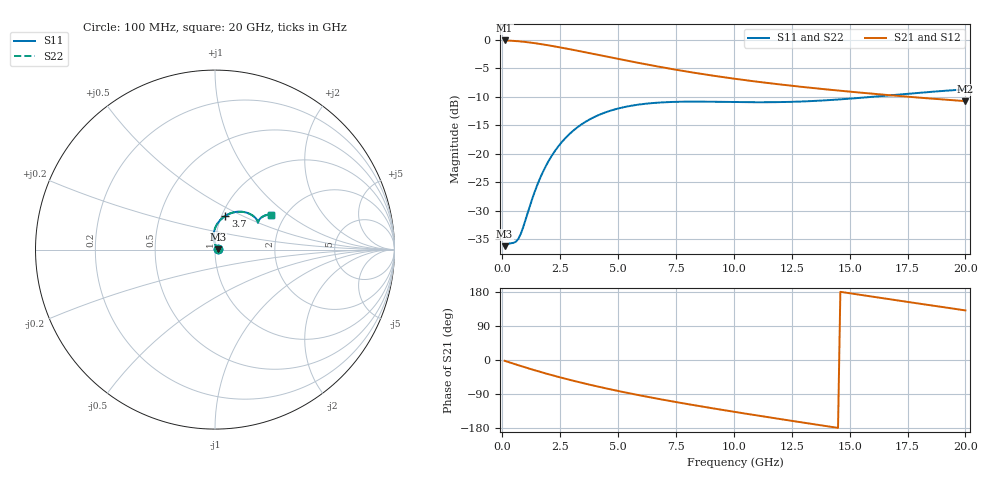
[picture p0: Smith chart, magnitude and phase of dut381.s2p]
! Touchstone file exported from HFSS 2024.1.0
!  File:  C:/UserFiles/LocalFiles/RDL_TSV_Batchsim/temp_RDL_TSV_381_1779645239.aedt
!  Generated:  02:14:49 AM May 25, 2026
!  Design:  RDL_TSV
!  Project:  temp_RDL_TSV_381_1779645239
!  Setup:  Setup1
!  Solution:  Sweep
! Variables:
!  dtsv = 9.1um
!  hbump = 3um
!  htsv = 95.04um
!  ldown = 313.54um
!  lrdl = 543.48um
!  p = 40
!  p1 = 53.27um
!  rhole = 10um
!  subl = 3114.54um
!  t = 450um
!  tdown = 2.79um
!  trdl = 4.5um
!  viad = 10um
!  wdown = 20.45um
!  wrdl = 19.91um
!  xbump = 18um
# GHz S MA R 50.000000
! Terminal data exported
! Port[1] = TM1_1_T1
! Port[2] = TM1_4_T1
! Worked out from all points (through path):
!   200 points, 100 MHz to 20 GHz, reference 50 ohm
!   highest |S21| = -0.14 dB at 100 MHz (marker M1); lowest = -10.8 dB at 20 GHz (marker M2)
!   group delay of S21, straight-line fit = 29.9 ps
!   lowest |S11| = -36.2 dB at 100 MHz (marker M3), VSWR 1.03, Z = 51.6 + j0.249 ohm
!   |S11| at or under -10 dB: start of sweep to 16.04 GHz
!   |S22| runs from -36.2 to -8.7 dB; largest |S21 - S12| = 1.2e-13
!   S11 on the Smith chart (normalised r, x): 100 MHz: 1.03, +0.00; 3.7 GHz: 1.04, +0.41; 20 GHz: 1.69, +0.76
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0.1  0.0155 9.0  0.9842 -2.0  0.9842 -2.0  0.0155 9.0
! Gamma 0 0 0 0
! Port Impedance 50 0 50 0
0.5  0.01662 38.5  0.9754 -10.0  0.9754 -10.0  0.01662 38.5
0.7  0.01808 58.3  0.9683 -13.9  0.9683 -13.9  0.01809 58.2
0.9  0.02264 76.6  0.9595 -17.8  0.9595 -17.8  0.02264 76.6
1.4  0.04647 96.0  0.9319 -27.1  0.9319 -27.1  0.04644 95.9
1.8  0.07244 96.7  0.9056 -34.2  0.9056 -34.2  0.07237 96.6
2.2  0.1006 93.1  0.8773 -41.0  0.8773 -41.0  0.1005 93.0
2.6  0.1287 88.1  0.8479 -47.5  0.8479 -47.5  0.1285 88.0
3  0.1554 82.6  0.8183 -53.7  0.8183 -53.7  0.1552 82.5
3.5  0.1855 75.7  0.7815 -61.2  0.7815 -61.2  0.1852 75.6
3.7  0.1963 73.1  0.7671 -64.1  0.7671 -64.1  0.196 73.0
4.4  0.2285 64.5  0.7181 -73.9  0.7181 -73.9  0.2281 64.4
5.2  0.2548 56.1  0.6663 -84.3  0.6663 -84.3  0.2543 56.0
6  0.2717 49.2  0.6194 -94.0  0.6194 -94.0  0.2711 49.1
6.8  0.2813 43.6  0.5777 -103.3  0.5777 -103.3  0.2806 43.5
8.4  0.2865 36.2  0.5087 -120.5  0.5087 -120.5  0.2858 36.1
10.1  0.2839 32.6  0.4526 -137.6  0.4526 -137.6  0.2831 32.5
11.7  0.2832 32.2  0.4117 -153.0  0.4117 -153.0  0.2824 32.1
13.4  0.2899 33.3  0.3771 -169.0  0.3771 -169.0  0.2891 33.2
15  0.304 34.4  0.3504 176.2  0.3504 176.2  0.3031 34.3
16.7  0.3248 34.7  0.3265 160.6  0.3265 160.6  0.3238 34.6
20  0.3671 32.2  0.2893 130.9  0.2893 130.9  0.3657 32.1
